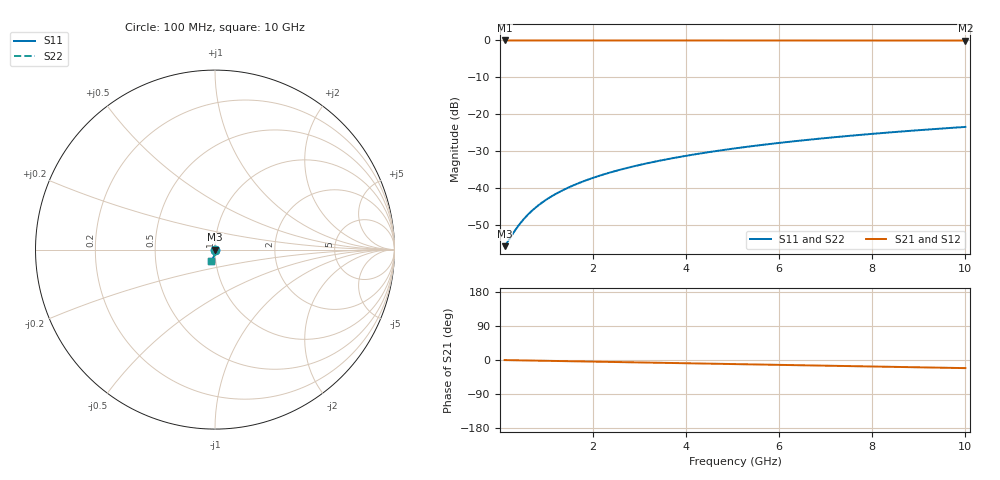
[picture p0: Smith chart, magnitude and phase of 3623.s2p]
# Hz S RI R 50.00
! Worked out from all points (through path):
!   100 points, 100 MHz to 10 GHz, reference 50 ohm
!   highest |S21| = -0.01 dB at 100 MHz (marker M1); lowest = 0.0 dB at 10 GHz (marker M2)
!   group delay of S21, straight-line fit = 5.96 ps
!   lowest |S11| = -55.7 dB at 100 MHz (marker M3), VSWR 1.00, Z = 50.1 - j0.0693 ohm
!   |S11| at or under -10 dB: start of sweep to end of sweep
!   |S22| runs from -55.7 to -23.4 dB; largest |S21 - S12| = 0
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1e8  0.00149 -0.000691  0.9985 -0.00373  0.9985 -0.00373  0.00149 -0.000691
2e8  0.00149 -0.00138  0.9985 -0.00745  0.9985 -0.00745  0.00149 -0.00138
3e8  0.00148 -0.00207  0.9984 -0.0112  0.9984 -0.0112  0.00148 -0.00207
4e8  0.00147 -0.00276  0.9984 -0.0149  0.9984 -0.0149  0.00147 -0.00276
5e8  0.00145 -0.00345  0.9983 -0.0186  0.9983 -0.0186  0.00145 -0.00345
6e8  0.00142 -0.00414  0.9982 -0.0224  0.9982 -0.0224  0.00142 -0.00414
7e8  0.00139 -0.00483  0.9981 -0.0261  0.9981 -0.0261  0.00139 -0.00483
8e8  0.00135 -0.00553  0.998 -0.0298  0.998 -0.0298  0.00135 -0.00553
1e9  0.00126 -0.0069  0.9977 -0.0373  0.9977 -0.0373  0.00126 -0.0069
1.2e9  0.00115 -0.00828  0.9974 -0.0447  0.9974 -0.0447  0.00115 -0.00828
1.5e9  0.000945 -0.0103  0.9968 -0.0559  0.9968 -0.0559  0.000945 -0.0103
1.8e9  0.000692 -0.0124  0.9961 -0.067  0.9961 -0.067  0.000692 -0.0124
2.1e9  0.000393 -0.0145  0.9952 -0.0782  0.9952 -0.0782  0.000393 -0.0145
2.5e9  -7.88e-05 -0.0172  0.9939 -0.093  0.9939 -0.093  -7.88e-05 -0.0172
2.9e9  -0.000632 -0.0199  0.9923 -0.1079  0.9923 -0.1079  -0.000632 -0.0199
3.4e9  -0.00144 -0.0233  0.99 -0.1264  0.99 -0.1264  -0.00144 -0.0233
4.2e9  -0.00299 -0.0286  0.9856 -0.1559  0.9856 -0.1559  -0.00299 -0.0286
5.1e9  -0.00511 -0.0345  0.9796 -0.189  0.9796 -0.189  -0.00511 -0.0345
5.9e9  -0.00733 -0.0396  0.9733 -0.2182  0.9733 -0.2182  -0.00733 -0.0396
6.7e9  -0.00986 -0.0446  0.966 -0.2472  0.966 -0.2472  -0.00986 -0.0446
8.4e9  -0.0162 -0.0546  0.9477 -0.308  0.9477 -0.308  -0.0162 -0.0546
1e10  -0.0233 -0.0633  0.9268 -0.3641  0.9268 -0.3641  -0.0233 -0.0633
